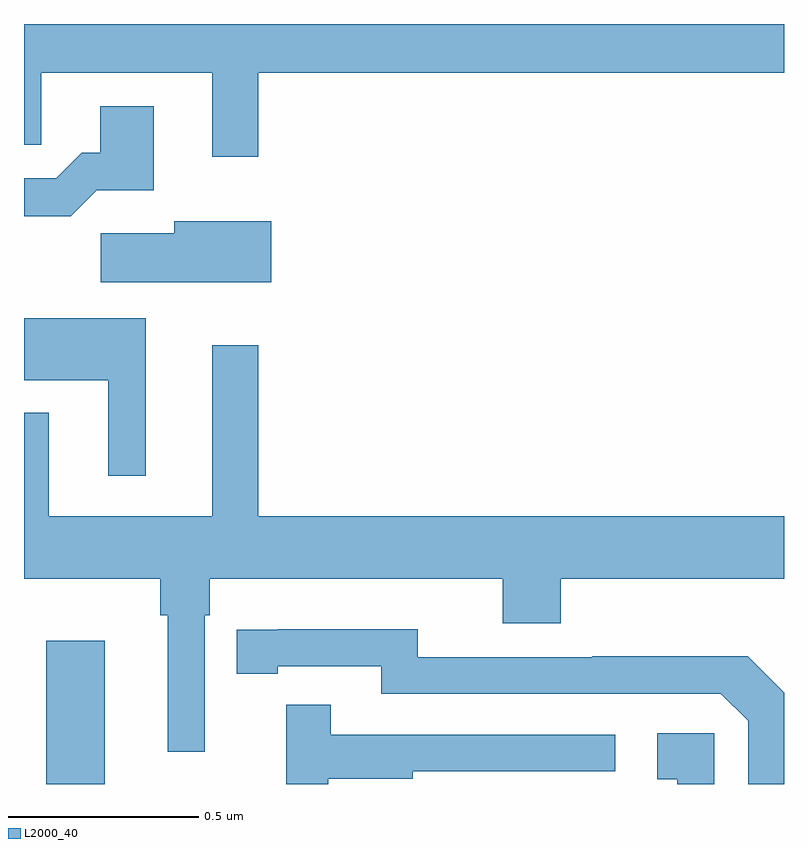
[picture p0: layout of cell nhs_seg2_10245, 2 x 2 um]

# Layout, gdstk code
import gdstk
lib = gdstk.Library(unit=1e-6, precision=1e-09)
def R(c, l, rs):  # rectangles x0, y0, x1, y1
    for r in rs: c.add(gdstk.rectangle(r[:2], r[2:], *l))
def P(c, l, *ps):  # polygons
    for p in ps: c.add(gdstk.Polygon(p, *l))
L2000_40 = (2000, 40)

nhs_seg2_10245 = lib.new_cell('nhs_seg2_10245')
R(nhs_seg2_10245, L2000_40, [(239.059,609.8,239.212,610.177)])
P(nhs_seg2_10245, L2000_40, [(239.617,611.672),(241,611.672),(241,611.8),(239,611.8),(239,611.482),(239.046,611.482),(239.046,611.672),(239.495,611.672),(239.495,611.451),(239.617,611.451)],
  [(239.192,611.363),(239.341,611.363),(239.341,611.584),(239.201,611.584),(239.201,611.461),(239.152,611.461),(239.085,611.394),(239,611.394),(239,611.294),(239.123,611.294)],
  [(239.65,611.281),(239.396,611.281),(239.396,611.249),(239.202,611.249),(239.202,611.12),(239.65,611.12)],
  [(239.32,611.026),(239,611.026),(239,610.862),(239.222,610.862),(239.222,610.611),(239.32,610.611)],
  [(239.475,610.244),(239.489,610.244),(239.489,610.34),(240.26,610.34),(240.26,610.223),(240.413,610.223),(240.413,610.34),(241,610.34),(241,610.504),(239.617,610.504),(239.617,610.954),(239.495,610.954),(239.495,610.504),(239.065,610.504),(239.065,610.777),(239,610.777),(239,610.34),(239.359,610.34),(239.359,610.244),(239.378,610.244),(239.378,609.885),(239.475,609.885)],
  [(241,610.04),(240.904,610.136),(240.496,610.136),(240.496,610.134),(240.036,610.134),(240.036,610.207),(239.668,610.207),(239.668,610.206),(239.56,610.206),(239.56,610.09),(239.668,610.09),(239.668,610.11),(239.94,610.11),(239.94,610.038),(240.834,610.038),(240.906,609.966),(240.906,609.8),(241,609.8)],
  [(239.8,609.814),(240.023,609.814),(240.023,609.834),(240.556,609.834),(240.556,609.93),(239.807,609.93),(239.807,610.009),(239.69,610.009),(239.69,609.8),(239.8,609.8)],
  [(240.816,609.934),(240.666,609.934),(240.666,609.813),(240.719,609.813),(240.719,609.8),(240.816,609.8)])

lib.write_gds('nhs_seg2_10245.gds')
